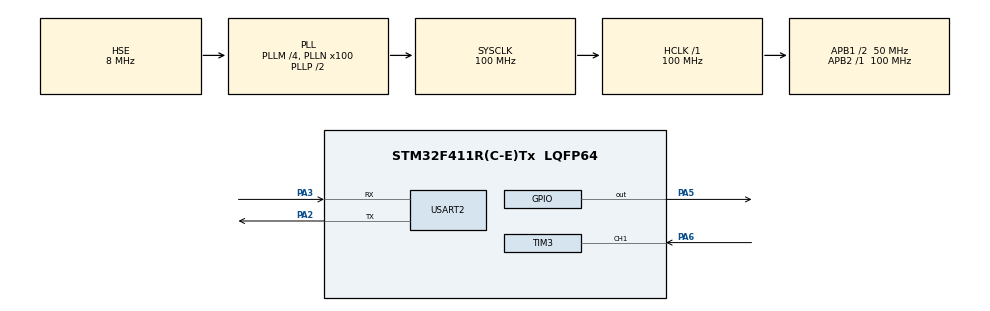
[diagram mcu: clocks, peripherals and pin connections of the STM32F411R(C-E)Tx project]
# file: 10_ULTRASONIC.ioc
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Mcu.Family=STM32F4
Mcu.Name=STM32F411R(C-E)Tx
Mcu.Package=LQFP64
NVIC.PriorityGroup=NVIC_PRIORITYGROUP_4
NVIC.TIM3_IRQn=true\:0\:0\:false\:false\:true\:true\:true\:true
PA13.Mode=Serial_Wire
PA13.Signal=SYS_JTMS-SWDIO
PA14.Mode=Serial_Wire
PA14.Signal=SYS_JTCK-SWCLK
PA2.Mode=Asynchronous
PA2.Signal=USART2_TX
PA3.Mode=Asynchronous
PA3.Signal=USART2_RX
PA5.GPIO_Speed=GPIO_SPEED_FREQ_VERY_HIGH
PA5.Signal=GPIO_Output
PA6.Signal=S_TIM3_CH1
PH0\ -\ OSC_IN.Mode=HSE-External-Oscillator
PH0\ -\ OSC_IN.Signal=RCC_OSC_IN
PH1\ -\ OSC_OUT.Mode=HSE-External-Oscillator
PH1\ -\ OSC_OUT.Signal=RCC_OSC_OUT
ProjectManager.HeapSize=0x200
ProjectManager.StackSize=0x400
ProjectManager.TargetToolchain=STM32CubeIDE
RCC.48MHZClocksFreq_Value=50000000
RCC.AHBFreq_Value=100000000
RCC.APB1CLKDivider=RCC_HCLK_DIV2
RCC.APB1Freq_Value=50000000
RCC.APB1TimFreq_Value=100000000
RCC.APB2Freq_Value=100000000
RCC.APB2TimFreq_Value=100000000
RCC.CortexFreq_Value=100000000
RCC.HCLKFreq_Value=100000000
RCC.HSE_VALUE=8000000
RCC.HSI_VALUE=16000000
RCC.LSE_VALUE=32768
RCC.PLLM=4
RCC.PLLN=100
RCC.PLLSourceVirtual=RCC_PLLSOURCE_HSE
RCC.RCC_RTC_Clock_Source=RCC_RTCCLKSOURCE_LSI
RCC.RCC_RTC_Clock_SourceVirtual=RCC_RTCCLKSOURCE_LSI
RCC.SYSCLKFreq_VALUE=100000000
RCC.SYSCLKSource=RCC_SYSCLKSOURCE_PLLCLK
RCC.VCOOutputFreq_Value=200000000
SH.S_TIM3_CH1.0=TIM3_CH1,Input_Capture1_from_TI1
TIM11.Prescaler=100-1
TIM3.Channel-Input_Capture1_from_TI1=TIM_CHANNEL_1
TIM3.Prescaler=100-1
USART2.VirtualMode=VM_ASYNC
VP_TIM11_VS_ClockSourceINT.Mode=Enable_Timer
VP_TIM3_VS_ClockSourceINT.Mode=Internal
board=custom

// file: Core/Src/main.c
/* USER CODE BEGIN Header */
/**
  ******************************************************************************
  * @file           : main.c
  * @brief          : Main program body
  ******************************************************************************
  * @attention
  *
  * Copyright (c) 2025 STMicroelectronics.
  * All rights reserved.
  *
  * This software is licensed under terms that can be found in the LICENSE file
  * in the root directory of this software component.
  * If no LICENSE file comes with this software, it is provided AS-IS.
  *
  ******************************************************************************
  */
/* USER CODE END Header */
#include "main.h"
#include "tim.h"
#include "usart.h"
#include "gpio.h"

/* USER CODE BEGIN Includes */
#include "stdio.h"
#include "delay_us.h"
/* USER CODE END Includes */

/* USER CODE BEGIN PD */
#define TRIG_PORT		GPIOA
#define TRIG_PIN		GPIO_PIN_5
/* USER CODE END PD */

/* USER CODE BEGIN PM */
#ifdef __GNUC__
/* With GCC small printf (option LD Linker->Libraries->Small printf
 * set to 'Yes') calls __io_putchar() */
#define PUTCHAR_PROTOTYPE int  __io_putchar(int ch)
#else
#define PUTCHAR_PROTOTYPE int  fputc(int ch, FILE *f)
#endif /* __GNUC__*/

/** @brief Retargets the C library printf function to the USART.
 *  @param None
 *  @retval None
 */
PUTCHAR_PROTOTYPE {
  /* Place your implementation of fputc here */
  /* e.g. write a character to the USART2 and Loop
     until the end of transmission */
  if(ch == '\n')
    HAL_UART_Transmit(&huart2, (uint8_t*) "\r", 1, 0xFFFF);
    HAL_UART_Transmit(&huart2, (uint8_t*) &ch, 1, 0xFFFF);
}
/* USER CODE END PM */

/* USER CODE BEGIN PV */
uint16_t IC_Value1 = 0;
uint16_t IC_Value2 = 0;
uint16_t echoTime = 0;
uint8_t captureFlag = 0;
uint8_t distance = 0;
/* USER CODE END PV */

void SystemClock_Config(void);
/* USER CODE BEGIN PFP */
void HCSR04_TRIG(void) {
	HAL_GPIO_WritePin(TRIG_PORT, TRIG_PIN, GPIO_PIN_SET);
	delay_us(10);
	HAL_GPIO_WritePin(TRIG_PORT, TRIG_PIN, GPIO_PIN_RESET);

	__HAL_TIM_ENABLE_IT(&htim3, TIM_IT_CC1);
}

void HAL_TIM_IC_CaptureCallback(TIM_HandleTypeDef *htim) {
	if (htim->Channel == HAL_TIM_ACTIVE_CHANNEL_1) {
		if (captureFlag == 0) {					// Capture 안했다면
			IC_Value1 = HAL_TIM_ReadCapturedValue(&htim3, TIM_CHANNEL_1);
			captureFlag = 1;					// Capture 했음
			// Capture 극성을 Rising에서 Falling으로 변경
			__HAL_TIM_SET_CAPTUREPOLARITY(htim, TIM_CHANNEL_1, TIM_INPUTCHANNELPOLARITY_FALLING);
		}
		else if (captureFlag == 1) {			// Capture 했다면
			IC_Value2 = HAL_TIM_ReadCapturedValue(&htim3, TIM_CHANNEL_1);
			__HAL_TIM_SET_COUNTER(&htim3, 0);

			if (IC_Value2 > IC_Value1) {		// 같은 주기인 경우
				echoTime =  IC_Value2 - IC_Value1;
			}
			else if (IC_Value1 > IC_Value2) {	// 주기가 바뀐 경우
				echoTime = (0xffff - IC_Value1) + IC_Value2;
			}

			distance = echoTime / 58;
			captureFlag = 0;
			__HAL_TIM_SET_CAPTUREPOLARITY(htim, TIM_CHANNEL_1, TIM_INPUTCHANNELPOLARITY_RISING);
			__HAL_TIM_DISABLE_IT(&htim3, TIM_IT_CC1);		// 한번 끝나면 Disable
		}
	}
}
/* USER CODE END PFP */

int main(void)
{

  /* MCU Configuration--------------------------------------------------------*/

  /* Reset of all peripherals, Initializes the Flash interface and the Systick. */
  HAL_Init();

  /* Configure the system clock */
  SystemClock_Config();

  /* Initialize all configured peripherals */
  MX_GPIO_Init();
  MX_TIM3_Init();
  MX_TIM11_Init();
  MX_USART2_UART_Init();
  /* USER CODE BEGIN 2 */
  HAL_TIM_Base_Start(&htim11);					// us Timer
  HAL_TIM_IC_Start_IT(&htim3, TIM_CHANNEL_1);	// for Ultrasonic Timer
  /* USER CODE END 2 */

  /* Infinite loop */
  /* USER CODE BEGIN WHILE */
  while (1)
  {
	  HCSR04_TRIG();
	  printf(" %d cm\r\n", distance);
	  HAL_Delay(500);
    /* USER CODE END WHILE */

  }
}

void SystemClock_Config(void)
{
  RCC_OscInitTypeDef RCC_OscInitStruct = {0};
  RCC_ClkInitTypeDef RCC_ClkInitStruct = {0};

  /** Configure the main internal regulator output voltage
  */
  __HAL_RCC_PWR_CLK_ENABLE();
  __HAL_PWR_VOLTAGESCALING_CONFIG(PWR_REGULATOR_VOLTAGE_SCALE1);

  /** Initializes the RCC Oscillators according to the specified parameters
  * in the RCC_OscInitTypeDef structure.
  */
  RCC_OscInitStruct.OscillatorType = RCC_OSCILLATORTYPE_HSE;
  RCC_OscInitStruct.HSEState = RCC_HSE_ON;
  RCC_OscInitStruct.PLL.PLLState = RCC_PLL_ON;
  RCC_OscInitStruct.PLL.PLLSource = RCC_PLLSOURCE_HSE;
  RCC_OscInitStruct.PLL.PLLM = 4;
  RCC_OscInitStruct.PLL.PLLN = 100;
  RCC_OscInitStruct.PLL.PLLP = RCC_PLLP_DIV2;
  RCC_OscInitStruct.PLL.PLLQ = 4;
  if (HAL_RCC_OscConfig(&RCC_OscInitStruct) != HAL_OK)
  {
    Error_Handler();
  }

  /** Initializes the CPU, AHB and APB buses clocks
  */
  RCC_ClkInitStruct.ClockType = RCC_CLOCKTYPE_HCLK|RCC_CLOCKTYPE_SYSCLK
                              |RCC_CLOCKTYPE_PCLK1|RCC_CLOCKTYPE_PCLK2;
  RCC_ClkInitStruct.SYSCLKSource = RCC_SYSCLKSOURCE_PLLCLK;
  RCC_ClkInitStruct.AHBCLKDivider = RCC_SYSCLK_DIV1;
  RCC_ClkInitStruct.APB1CLKDivider = RCC_HCLK_DIV2;
  RCC_ClkInitStruct.APB2CLKDivider = RCC_HCLK_DIV1;

  if (HAL_RCC_ClockConfig(&RCC_ClkInitStruct, FLASH_LATENCY_3) != HAL_OK)
  {
    Error_Handler();
  }
}

void Error_Handler(void)
{
  __disable_irq();
  while (1)
  {
  }
}
